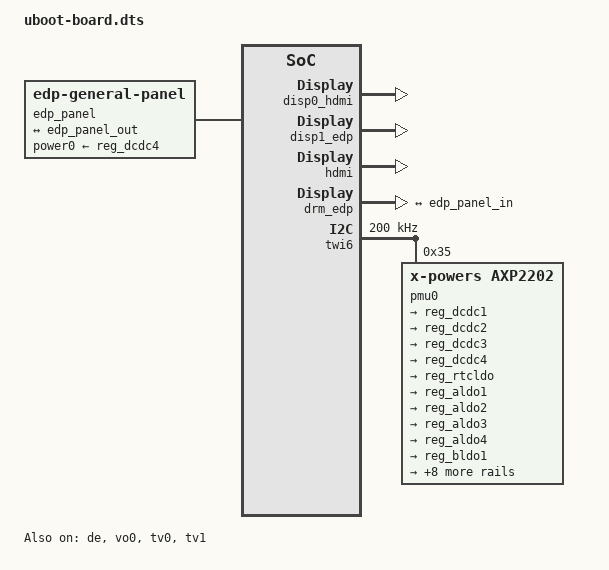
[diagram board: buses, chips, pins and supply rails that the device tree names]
/*
 * Allwinner Technology CO., Ltd. sun50iw10p1 soc board.
 *
 * soc board support.
 */
#include <media_bus_format.h>

#define USE_MIPI_DSI_ALT_HDMI 0

/{
#if USE_MIPI_DSI_ALT_HDMI
	backlight0: backlight@0 {
		compatible = "pwm-backlight";
		status = "okay";
		brightness-levels = <
			  0   1   2   3   4   5   6   7
			  8   9  10  11  12  13  14  15
			 16  17  18  19  20  21  22  23
			 24  25  26  27  28  29  30  31
			 32  33  34  35  36  37  38  39
			 40  41  42  43  44  45  46  47
			 48  49  50  51  52  53  54  55
			 56  57  58  59  60  61  62  63
			 64  65  66  67  68  69  70  71
			 72  73  74  75  76  77  78  79
			 80  81  82  83  84  85  86  87
			 88  89  90  91  92  93  94  95
			 96  97  98  99 100 101 102 103
			104 105 106 107 108 109 110 111
			112 113 114 115 116 117 118 119
			120 121 122 123 124 125 126 127
			128 129 130 131 132 133 134 135
			136 137 138 139 140 141 142 143
			144 145 146 147 148 149 150 151
			152 153 154 155 156 157 158 159
			160 161 162 163 164 165 166 167
			168 169 170 171 172 173 174 175
			176 177 178 179 180 181 182 183
			184 185 186 187 188 189 190 191
			192 193 194 195 196 197 198 199
			200 201 202 203 204 205 206 207
			208 209 210 211 212 213 214 215
			216 217 218 219 220 221 222 223
			224 225 226 227 228 229 230 231
			232 233 234 235 236 237 238 239
			240 241 242 243 244 245 246 247
			248 249 250 251 252 253 254 255>;
		default-brightness-level = <200>;
		// enable-gpios = <&pio PB 7 1 0 3 1>;
		// power-supply = <&reg_cldo3>;
		pwms = <&pwm 11 25000 0>;
	};

	backlight1: backlight@1 {
		compatible = "pwm-backlight";
		status = "okay";
		brightness-levels = <
			  0   1   2   3   4   5   6   7
			  8   9  10  11  12  13  14  15
			 16  17  18  19  20  21  22  23
			 24  25  26  27  28  29  30  31
			 32  33  34  35  36  37  38  39
			 40  41  42  43  44  45  46  47
			 48  49  50  51  52  53  54  55
			 56  57  58  59  60  61  62  63
			 64  65  66  67  68  69  70  71
			 72  73  74  75  76  77  78  79
			 80  81  82  83  84  85  86  87
			 88  89  90  91  92  93  94  95
			 96  97  98  99 100 101 102 103
			104 105 106 107 108 109 110 111
			112 113 114 115 116 117 118 119
			120 121 122 123 124 125 126 127
			128 129 130 131 132 133 134 135
			136 137 138 139 140 141 142 143
			144 145 146 147 148 149 150 151
			152 153 154 155 156 157 158 159
			160 161 162 163 164 165 166 167
			168 169 170 171 172 173 174 175
			176 177 178 179 180 181 182 183
			184 185 186 187 188 189 190 191
			192 193 194 195 196 197 198 199
			200 201 202 203 204 205 206 207
			208 209 210 211 212 213 214 215
			216 217 218 219 220 221 222 223
			224 225 226 227 228 229 230 231
			232 233 234 235 236 237 238 239
			240 241 242 243 244 245 246 247
			248 249 250 251 252 253 254 255>;
		default-brightness-level = <200>;
		// enable-gpios = <&pio PI 2 1 0 3 1>;
		// power-supply = <&reg_cldo3>;
		pwms = <&pwm 6 25000 0>;
	};

	dsi0_panel: dsi_panel@0 {
		compatible = "allwinner,panel-dsi";
		status = "okay";
		// reg = <0>;
		power0-supply = <&reg_cldo1>;	// vcc-lvds
		power1-supply = <&reg_dcdc4>;	// vcc-pd

		reset-gpios = <&pio PC 7 1 0 3 1>;	// FIXME: kernel: <&pio PC 7 GPIO_ACTIVE_HIGH>;
		reset-num = <1>;
		reset-delay-ms = <40>;

		backlight = <&backlight0>;
		dsi,flags = <(MIPI_DSI_MODE_VIDEO)>;
		dsi,lanes = <4>;
		dsi,format = <0>;	// FILE: drm_mipi_dsi.h:141; 0: rgb888; 1: rgb666; 3: rgb565

		// byte0 		byte1 		byte2 		byte3 ... byteX
		// data-type	delay-ms	data-len	data  ...
		panel-init-sequence = [
			39 00 04 B9 FF 83 99
			15 00 02 D2 77
			15 00 02 CC 04
			39 00 10 B1 02 04 74 94 01 32 33 11 11 AB 4D 56 73 02 02
			39 00 10 B2 00 80 80 AE 05 07 5A 11 00 00 10 1E 70 03 D4
			39 00 2D B4 00 FF 02 C0 02 C0 00 00 08 00 04 06 00 32 04 0A 08 21 03 01 00 0F B8 8B 02 C0 02 C0 00 00 08 00 04 06 00 32 04 0A 08 01 00 0F B8 01
			39 05 22 D3 00 00 00 00 00 00 06 00 00 10 04 00 04 00 00 00 00 00 00 00 00 00 00 01 00 05 05 07 00 00 00 05 40
			39 05 21 D5 18 18 19 19 18 18 21 20 01 00 07 06 05 04 03 02 18 18 18 18 18 18 2F 2F 30 30 31 31 18 18 18 18
			39 05 21 D6 18 18 19 19 40 40 20 21 02 03 04 05 06 07 00 01 40 40 40 40 40 40 2F 2F 30 30 31 31 40 40 40 40
			39 00 11 D8 A2 AA 02 A0 A2 A8 02 A0 B0 00 00 00 B0 00 00 00
			15 00 02 BD 01
			39 00 11 D8 B0 00 00 00 B0 00 00 00 E2 AA 03 F0 E2 AA 03 F0
			15 00 02 BD 02
			39 00 09 D8 E2 AA 03 F0 E2 AA 03 F0
			15 00 02 BD 00
			39 00 03 B6 8D 8D
			39 05 37 E0 00 0E 19 13 2E 39 48 44 4D 57 5F 66 6C 76 7F 85 8A 95 9A A4 9B AB B0 5C 58 64 77 00 0E 19 13 2E 39 48 44 4D 57 5F 66 6C 76 7F 85 8A 95 9A A4 9B AB B0 5C 58 64 77
			05 c8 01 11
			05 ff 01 29
		];

		panel-exit-sequence = [
			05 05 01 10
			05 05 01 28
		];

		display-timings {
			native-mode = <&timing_dsi0>;
			timing_dsi0: timing@0 {
				clock-frequency = <75000000>;
				hback-porch = <52>;
				hactive = <1080>;
				hfront-porch = <48>;
				hsync-len = <8>;
				vback-porch = <15>;
				vactive = <1920>;
				vfront-porch = <16>;
				vsync-len = <6>;

				de-active = <0>;
				vsync-active = <0>;
				hsync-active = <0>;
				pixelclk-active = <0>;
			};
		};
		port {
			mipi_dsi0_in: endpoint@0 {
				reg = <0>;
				remote-endpoint = <&mipi_dsi0_out>;
			};
		};
	};

	dsi1_panel: dsi_panel@1 {
		compatible = "allwinner,panel-dsi";
		status = "okay";
		// reg = <0>;
		power0-supply = <&reg_cldo1>;	// vcc-lvds
		power1-supply = <&reg_dcdc4>;	// vcc-pd

		reset-gpios = <&pio PC 3 1 0 3 1>;	// FIXME: kernel: <&pio PC 3 GPIO_ACTIVE_HIGH>;
		reset-num = <1>;
		reset-delay-ms = <40>;

		backlight = <&backlight1>;
		dsi,flags = <(MIPI_DSI_MODE_VIDEO)>;
		dsi,lanes = <4>;
		dsi,format = <0>;	// FILE: drm_mipi_dsi.h:141; 0: rgb888; 1: rgb666; 3: rgb565

		// same as dsi0_panel
		panel-init-sequence = [
			39 00 04 B9 FF 83 99
			15 00 02 D2 77
			15 00 02 CC 04
			39 00 10 B1 02 04 74 94 01 32 33 11 11 AB 4D 56 73 02 02
			39 00 10 B2 00 80 80 AE 05 07 5A 11 00 00 10 1E 70 03 D4
			39 00 2D B4 00 FF 02 C0 02 C0 00 00 08 00 04 06 00 32 04 0A 08 21 03 01 00 0F B8 8B 02 C0 02 C0 00 00 08 00 04 06 00 32 04 0A 08 01 00 0F B8 01
			39 05 22 D3 00 00 00 00 00 00 06 00 00 10 04 00 04 00 00 00 00 00 00 00 00 00 00 01 00 05 05 07 00 00 00 05 40
			39 05 21 D5 18 18 19 19 18 18 21 20 01 00 07 06 05 04 03 02 18 18 18 18 18 18 2F 2F 30 30 31 31 18 18 18 18
			39 05 21 D6 18 18 19 19 40 40 20 21 02 03 04 05 06 07 00 01 40 40 40 40 40 40 2F 2F 30 30 31 31 40 40 40 40
			39 00 11 D8 A2 AA 02 A0 A2 A8 02 A0 B0 00 00 00 B0 00 00 00
			15 00 02 BD 01
			39 00 11 D8 B0 00 00 00 B0 00 00 00 E2 AA 03 F0 E2 AA 03 F0
			15 00 02 BD 02
			39 00 09 D8 E2 AA 03 F0 E2 AA 03 F0
			15 00 02 BD 00
			39 00 03 B6 8D 8D
			39 05 37 E0 00 0E 19 13 2E 39 48 44 4D 57 5F 66 6C 76 7F 85 8A 95 9A A4 9B AB B0 5C 58 64 77 00 0E 19 13 2E 39 48 44 4D 57 5F 66 6C 76 7F 85 8A 95 9A A4 9B AB B0 5C 58 64 77
			05 c8 01 11
			05 ff 01 29
		];

		panel-exit-sequence = [
			05 05 01 10
			05 05 01 28
		];

		display-timings {
			native-mode = <&timing_dsi1>;
			timing_dsi1: timing@0 {
				clock-frequency = <75000000>;
				hback-porch = <52>;
				hactive = <1080>;
				hfront-porch = <48>;
				hsync-len = <8>;
				vback-porch = <15>;
				vactive = <1920>;
				vfront-porch = <16>;
				vsync-len = <6>;

				de-active = <0>;
				vsync-active = <0>;
				hsync-active = <0>;
				pixelclk-active = <0>;
			};
		};
		port {
			mipi_dsi1_in: endpoint@0 {
				reg = <0>;
				remote-endpoint = <&mipi_dsi1_out>;
			};
		};
	};
#else	// USE_MIPI_DSI_ALT_HDMI
	edp_panel: edp_panel {
		compatible = "edp-general-panel";
		status = "okay";
		// enable1-gpios = <&pio PI 4 1 0 3 1>;
		// enable2-gpios = <&pio PI 5 1 0 3 1>;
		power0-supply = <&reg_dcdc4>;

		ports {
			#address-cells = <1>;
			#size-cells = <0>;
			panel_in: port@0 {
				#address-cells = <1>;
				#size-cells = <0>;
				reg = <0>;
				edp_panel_in: endpoint@0 {
					reg = <0>;
					remote-endpoint = <&edp_panel_out>;
				};
			};
		};
	};
#endif	// USE_MIPI_DSI_ALT_HDMI
};

&soc {
	boot_init_gpio: boot_init_gpio {
		boot_gpio_num = <1>;
		gpio0 = <&pio PE 15 1 0 3 1>;
		status = "okay";
	};
};

&eink {
	status = "disabled";
};

&de {
	chn_cfg_mode = <3>;	// hidpi dual panel use 4
	status = "okay";
};

&vo0 {
	status = "okay";
};

#if USE_MIPI_DSI_ALT_HDMI
&disp0_dsi0 {
	status = "okay";
};

&disp1_dsi1 {
	status = "okay";
};

&dsi0combophy {
	status = "okay";
};

&dsi1combophy {
	status = "okay";
};

&dlcd0 {
	status = "okay";
};

&dlcd1 {
	status = "okay";
};

&dsi0 {
	pinctrl-0 = <&dsi0_4lane_pins_a>;
	pinctrl-1 = <&dsi0_4lane_pins_b>;
	pinctrl-names = "active", "sleep";
	status = "okay";
	ports {
		dsi0_out: port@1{
			dsi0_out_panel: endpoint {
				remote-endpoint = <&dsi0_panel_input>;
			};
		};
	};
	panel {
		compatible = "allwinner,virtual-panel";
		status = "okay";
		reg = <0>;
		ports {
			dis0_panel_in: port@0 {
				reg = <0>;
				dsi0_panel_input: endpoint@0 {
					reg = <0>;
					remote-endpoint = <&dsi0_out_panel>;
				};
			};
			dis0_panel_out: port@1 {
				reg = <1>;
				mipi_dsi0_out: endpoint@0 {
					reg = <0>;
					remote-endpoint = <&mipi_dsi0_in>;
				};
			};
		};
	};
};

&dsi1 {
	pinctrl-0 = <&dsi1_4lane_pins_a>;
	pinctrl-1 = <&dsi1_4lane_pins_b>;
	pinctrl-names = "active", "sleep";
	status = "okay";
	ports {
		dsi1_out: port@1{
			dsi1_out_panel: endpoint {
				remote-endpoint = <&dsi1_panel_input>;
			};
		};
	};
	panel {
		compatible = "allwinner,virtual-panel";
		status = "okay";
		reg = <0>;
		ports {
			dsi1_panel_in: port@0 {
				reg = <0>;
				dsi1_panel_input: endpoint@0 {
					reg = <0>;
					remote-endpoint = <&dsi1_out_panel>;
				};
			};
			dis1_panel_out: port@1 {
				reg = <1>;
				mipi_dsi1_out: endpoint@0 {
					reg = <0>;
					remote-endpoint = <&mipi_dsi1_in>;
				};
			};
		};
	};
};

#else	// USE_MIPI_DSI_ALT_HDMI
&disp0_hdmi {
	status = "okay";
};

&disp1_edp {
	status = "okay";
};

&tv0 {
	status = "okay";
};

&tv1 {
	status = "okay";
};

&hdmi {
	status = "okay";
};

&drm_edp {
	status = "okay";

	edp_colordepth = <8>; /* 6/8/10/12/16 */
	edp_color_fmt = <0>; /* 0:RGB  1: YUV444  2: YUV422 */

	vcc-edp-supply = <&reg_bldo3>;
	vdd-edp-supply = <&reg_dcdc2>;

	// edp_lane_cnt = <4>;
	// edp_lane_rate = <1>;

	// lane0_sw = <2>;
	// lane0_pre = <0>;
	// lane1_sw = <2>;
	// lane1_pre = <0>;
	// lane2_sw = <2>;
	// lane2_pre = <0>;
	// lane3_sw = <2>;
	// lane3_pre = <0>;
	// lane4_sw = <2>;
	// lane4_pre = <0>;
	// efficient_training = <0>;

	// panel = <&edp_panel>;
	ports {
		edp_out: port@1 {
			#address-cells = <1>;
			#size-cells = <0>;
			reg = <1>;
			edp_panel_out: endpoint@0 {
				reg = <0>;
				remote-endpoint = <&edp_panel_in>;
			};
		};
	};
};
#endif	// USE_MIPI_DSI_ALT_HDMI

&power_sply {
	bldo1_vol = <1003300>;	// 000 means disable in uboot
	bldo2_vol = <1001800>;
	bldo3_vol = <1001800>;	// 100 means open in uboot
	cldo2_vol = <1001800>;
	cldo4_vol = <1103300>;	// 110 means open in uboot but disable when burn
	dcdc4_vol = <1003300>;
	dcdc1_mode = <1>;
	dcdc3_mode = <1>;
	ext_dcdc0_mode = <1>;
	ext_dcdc1_mode = <1>;
	ext_dcdc2_mode = <1>;
	dcdc2_mode = <1>;	// 1: force fpwm mode, not work for own pmic
	bc12_mode = <0>;	// not auto select charge current
	ntc_status = <2>;	// charge thremal monitor
	battery_exist = <0>;	// uboot not care battery status
};

&platform {
	eraseflag   = <1>;
	next_work   = <3>;
	debug_mode  = <1>;
};

/*
 *recovery_key_used :  模块使能端，    1：开启，0：关闭
 *press_mode_enable :  长短按模式使能，1：开启，0：关闭
 *                     a)如果开启了该模式，则key_work_mode失效，short_press_mode和long_press_mode生效,
 *                     recovery按键可以通过长按和短按来触发两种不同的模式;
 *                     b)如果关闭了该模式，则key_work_mode生效，recovery按键只能触发一种模式.
 *key_work_mode     :  模式选择
 *                     0: 刷机,
 *                     1: 一键恢复(uboot阶段),
 *                     2: 安卓recovery,
 *                     3: 安卓恢复出厂设置.
 *                     如果不设置，模式为安卓recovery.
 *short_press_mode  :  长按触发的模式，选项同上.
 *long_press_mode   :  短按触发的模式，选项同上.
 *key_press_time    :  定义长按的时间，单位:毫秒.
 *recovery_key      :  按键配置.
 */
&adc_boot_recovery {
       recovery_adc_used = <0x1>;
       recovery_adc_channel = <0x1>;
       press_mode_enable = <0x1>;
       adc_work_mode = <0x2>;
       short_press_mode = <0x0>;
       long_press_mode = <0x2>;
       key_press_time = <0x1388>;
       key_min = <9>;
       key_max = <11>;
};

&target {
	boot_clock = <1008>;	/*CPU boot frequency, Unit: MHz*/
	storage_type = <0xffffffff>; /*boot medium, 0-nand, 1-card0, 2-card2, -1(defualt)auto scan*/
	burn_key = <1>;		/*1:support burn key; 0:not support burn key*/
	dragonboard_test = <0>;	/*1:support card boot dragonboard; 0:not support card boot dragonboard*/
};

&charger0 {
	pmu_safe_vol = <3400>;
	ntc_cur = <50>;
	safe_temp_H = <600>;//60
	safe_temp_L = <0xFFFFFFCE>;//-5
	pmu_bat_temp_para1 = <4592>;
	pmu_bat_temp_para2 = <2781>;
	pmu_bat_temp_para3 = <2125>;
	pmu_bat_temp_para4 = <1738>;
	pmu_bat_temp_para5 = <1390>;
	pmu_bat_temp_para6 = <1118>;
	pmu_bat_temp_para7 = <906>;
	pmu_bat_temp_para8 = <606>;
	pmu_bat_temp_para9 = <415>;
	pmu_bat_temp_para10 = <290>;
	pmu_bat_temp_para11 = <244>;
	pmu_bat_temp_para12 = <206>;
	pmu_bat_temp_para13 = <175>;
	pmu_bat_temp_para14 = <150>;
	pmu_bat_temp_para15 = <110>;
	pmu_bat_temp_para16 = <83>;
};

&twi6 {
	clock-frequency = <200000>;
	pinctrl-0 = <&s_twi0_pins_a>;
	pinctrl-1 = <&s_twi0_pins_b>;
	twi-supply = <&reg_aldo3>;
	no_suspend = <1>;
	twi_drv_used = <1>;
	status = "okay";
	pmu0: pmu@34 {
		compatible = "x-powers,axp2202";
		status = "okay";
		reg = <0x35>;
		/* interrupts = <0 IRQ_TYPE_LEVEL_LOW>;
		 * interrupt-parent = <&gic>; */
		x-powers,drive-vbus-en;

		wakeup-source;

		regulator0: regulators@0 {
			reg_dcdc1: dcdc1 {
				regulator-name = "axp2202-dcdc1";
			};
			reg_dcdc2: dcdc2 {
				regulator-name = "axp2202-dcdc2";
			};
			reg_dcdc3: dcdc3 {
				regulator-name = "axp2202-dcdc3";
			};
			reg_dcdc4: dcdc4 {
				regulator-name = "axp2202-dcdc4";
			};
			reg_rtcldo: rtcldo {
				/* RTC_LDO is a fixed, always-on regulator */
				regulator-name = "axp2202-rtcldo";
			};
			reg_aldo1: aldo1 {
				regulator-name = "axp2202-aldo1";
			};
			reg_aldo2: aldo2 {
				regulator-name = "axp2202-aldo2";
			};
			reg_aldo3: aldo3 {
				regulator-name = "axp2202-aldo3";
			};
			reg_aldo4: aldo4 {
				regulator-name = "axp2202-aldo4";
			};
			reg_bldo1: bldo1 {
				regulator-name = "axp2202-bldo1";
			};
			reg_bldo2: bldo2 {
				regulator-name = "axp2202-bldo2";
			};
			reg_bldo3: bldo3 {
				regulator-name = "axp2202-bldo3";
			};
			reg_bldo4: bldo4 {
				regulator-name = "axp2202-bldo4";
			};
			reg_cldo1: cldo1 {
				regulator-name = "axp2202-cldo1";
			};
			reg_cldo2: cldo2 {
				regulator-name = "axp2202-cldo2";
			};
			reg_cldo3: cldo3 {
				regulator-name = "axp2202-cldo3";
			};
			reg_cldo4: cldo4 {
				regulator-name = "axp2202-cldo4";
			};
			reg_cpusldo: cpusldo {
				regulator-name = "axp2202-cpusldo";
			};
		};
	};
};

&recovery_key {
	device_type = "recovery_key";
	key_max = <11>;
	key_min = <9>;
};

&sdc0_pins_a {
	allwinner,pins = "PF0", "PF1", "PF2",
			 "PF3", "PF4", "PF5";
	allwinner,function = "sdc0";
	allwinner,muxsel = <2>;
	allwinner,drive = <3>;
	allwinner,pull = <1>;
};

&sdc0_pins_b {
	allwinner,pins = "PF0", "PF1", "PF2",
			 "PF3", "PF4", "PF5";
	allwinner,function = "io_disabled";
	allwinner,muxsel = <7>;
	allwinner,drive = <1>;
	allwinner,pull = <1>;
};

&sdc0_pins_c {
	allwinner,pins = "PF0", "PF1", "PF2",
			 "PF3", "PF4", "PF5";
	allwinner,function = "uart0_jtag";
	allwinner,muxsel = <3>;
	allwinner,drive = <1>;
	allwinner,pull = <1>;
};

&sdc2_pins_a {
	allwinner,pins = "PC1", "PC5", "PC6",
			 "PC8", "PC9", "PC10", "PC11",
			 "PC13", "PC14", "PC15", "PC16";
	allwinner,function = "sdc2";
	allwinner,muxsel = <3>;
	allwinner,drive = <3>;
	allwinner,pull = <1>;
};

&sdc2_pins_b {
	allwinner,pins = "PC0", "PC1", "PC5", "PC6",
			 "PC8", "PC9", "PC10", "PC11",
			 "PC13", "PC14", "PC15", "PC16";
	allwinner,function = "io_disabled";
	allwinner,muxsel = <7>;
	allwinner,drive = <1>;
	allwinner,pull = <1>;
};

&sdc2_pins_c {
	allwinner,pins = "PC0";
	allwinner,function = "sdc2";
	allwinner,muxsel = <3>;
	allwinner,drive = <3>;
	allwinner,pull = <2>;
};

#if USE_MIPI_DSI_ALT_HDMI
&pio {
	pwm6_pin_a: pwm6@0 {
		allwinner,pins = "PB0";
		allwinner,function = "pwm6";
		allwinner,drive = <0>;
		allwinner,muxsel = <0x06>;
	};

	pwm6_pin_b: pwm6@1 {
		allwinner,pins = "PB0";
		allwinner,function = "io_disabled";
		allwinner,muxsel = <0x0f>;
		allwinner,drive = <0>;
		allwinner,pull = <0>;
	};

	pwm11_pin_a: pwm11@0 {
		allwinner,pins = "PB7";
		allwinner,function = "pwm11";
		allwinner,drive = <0>;
		allwinner,muxsel = <0x06>;
	};

	pwm11_pin_b: pwm11@1 {
		allwinner,pins = "PB7";
		allwinner,function = "io_disabled";
		allwinner,muxsel = <0x0f>;
		allwinner,drive = <0>;
		allwinner,pull = <0>;
	};
};

&pwm6 {
	pinctrl-names = "active", "sleep";
	pinctrl-0 = <&pwm6_pin_a>;
	pinctrl-1 = <&pwm6_pin_b>;
	status = "okay";
};

&pwm11 {
	pinctrl-names = "active", "sleep";
	pinctrl-0 = <&pwm11_pin_a>;
	pinctrl-1 = <&pwm11_pin_b>;
	status = "okay";
};
#endif

&dsi0_4lane_pins_a {
        allwinner,pins = "PD0", "PD1", "PD2", "PD3", "PD4", "PD5", "PD6", "PD7", "PD8", "PD9";
        allwinner,pname = "PD0", "PD1", "PD2", "PD3", "PD4", "PD5", "PD6", "PD7", "PD8", "PD9";
        allwinner,function = "dsi4lane";
        allwinner,muxsel = <4>;
        allwinner,drive = <3>;
        allwinner,pull = <0>;
};

&dsi0_4lane_pins_b {
        allwinner,pins = "PD0", "PD1", "PD2", "PD3", "PD4", "PD5", "PD6", "PD7", "PD8", "PD9";
        allwinner,pname = "PD0", "PD1", "PD2", "PD3", "PD4", "PD5", "PD6", "PD7", "PD8", "PD9";
        allwinner,function = "dsi4lane_suspend";
        allwinner,muxsel = <7>;
        allwinner,drive = <1>;
        allwinner,pull = <0>;
};

&dsi1_4lane_pins_a {
        allwinner,pins = "PD10", "PD11", "PD12", "PD13", "PD14", "PD15", "PD16", "PD17", "PD18", "PD19";
        allwinner,pname = "PD10", "PD11", "PD12", "PD13", "PD14", "PD15", "PD16", "PD17", "PD18", "PD19";
        allwinner,function = "dsi1";
        allwinner,muxsel = <4>;
        allwinner,drive = <3>;
        allwinner,pull = <0>;
};

&dsi1_4lane_pins_b {
        allwinner,pins = "PD10", "PD11", "PD12", "PD13", "PD14", "PD15", "PD16", "PD17", "PD18", "PD19";
        allwinner,pname = "PD10", "PD11", "PD12", "PD13", "PD14", "PD15", "PD16", "PD17", "PD18", "PD19";
        allwinner,function = "io_disabled";
        allwinner,muxsel = <7>;
        allwinner,drive = <1>;
        allwinner,pull = <0>;
};

&card0_boot_para {  /* Avoid dtc compiling warnings. @TODO: Developer should modify this to the actual value */
	/* reg = <0x0 0x2 0x0 0x0>;  [> Avoid dtc compiling warnings. @TODO: Developer should modify this to the actual value <] */
	device_type = "card0_boot_para";
	card_ctrl = <0x0>;
	card_high_speed = <0x1>;
	card_line = <0x4>;
	clk_mmc = "sdmmc0_mod";
	pll-0 = "hosc";
	pll-1 = "pll_periph1_400m";
	pll-2 = "pll_periph1_300m";
	pinctrl-0 = <&sdc0_pins_a>;
};

&card2_boot_para {
	/*
	* Avoid dtc compiling warnings.
	* @TODO: Developer should modify this to the actual value
	*/
	reg = <0x0 0x3 0x0 0x0>;
	device_type = "card2_boot_para";
	card_ctrl = <0x2>;
	card_high_speed = <0x1>;
	card_line = <0x8>;
	clk_mmc = "sdmmc2_mod";
	pll-0 = "hosc";
	pll-1 = "pll_periph1_800m";
	pll-2 = "pll_periph1_600m";
	pinctrl-0 = <&sdc2_pins_a &sdc2_pins_c>;
	sdc_ex_dly_used = <0x2>;
	sdc_tm4_hs200_max_freq = <150>;
	sdc_tm4_hs400_max_freq = <150>;
	sdc_io_1v8 = <0x1>;
	sdc_type = "tm4";
};

&gpio_bias {  /* Avoid dtc compiling warnings. @TODO: Developer should modify this to the actual value */
	device_type = "gpio_bias";
	pc_bias = <1800>;
	pl_supply = "aldo3_vol";
};

&power_delay {
	device_type = "power_delay";
	aldo3_vol_delay = <20000>;
};

&nand0 {
	status = "disabled";
};

&spi0 {
	status = "disabled";
};

&aliases {
	nand0 = &nand0;
	twi6 = &twi6;
	pwm = &pwm;
	pwm0 = &pwm0;
	pwm1 = &pwm1;
	pwm2 = &pwm2;
	pwm3 = &pwm3;
	pwm4 = &pwm4;
	pwm5 = &pwm5;
	pwm6 = &pwm6;
	pwm7 = &pwm7;
	pwm8 = &pwm8;
	pwm9 = &pwm9;
	pwm10 = &pwm10;
	pwm11 = &pwm11;
	disp = &disp;
	edp0 = &edp0;
	pmu0 = &pmu0;

};
